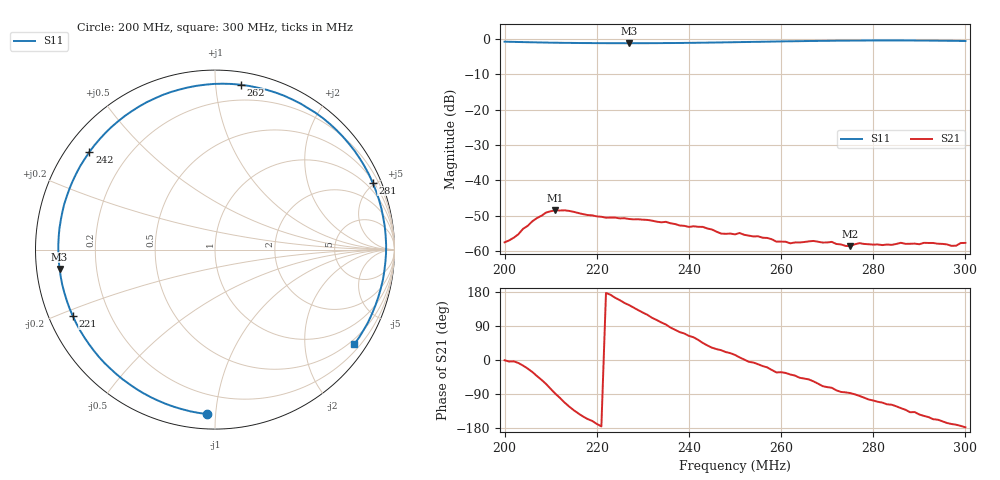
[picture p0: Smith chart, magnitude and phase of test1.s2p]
# HZ S RI R 50
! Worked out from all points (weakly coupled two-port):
!   101 points, 200 MHz to 300 MHz, reference 50 ohm
!   highest |S21| = -48.50 dB at 211 MHz (marker M1); lowest = -58.6 dB at 275 MHz (marker M2)
!   lowest |S11| = -1.2 dB at 227 MHz (marker M3), VSWR 14.71, Z = 3.41 - j3.09 ohm
!   |S11| at or under -10 dB: nowhere
!   S12 and S22 are empty: the file has one direction only
!   S11 on the Smith chart (normalised r, x): 200 MHz: 0.08, -0.95; 221 MHz: 0.07, -0.22; 242 MHz: 0.07, +0.34; 262 MHz: 0.09, +1.16; 281 MHz: 0.58, +4.84; 300 MHz: 0.37, -3.21
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2e8  -0.0424 -0.9168  0.00132 -1.83e-05  0 0  0 0
2.03e8  -0.1837 -0.8892  0.00171 -0.000239  0 0  0 0
2.07e8  -0.359 -0.8217  0.00216 -0.00196  0 0  0 0
2.11e8  -0.5141 -0.7228  8.09e-05 -0.00376  0 0  0 0
2.17e8  -0.7023 -0.5265  -0.00285 -0.00171  0 0  0 0
2.21e8  -0.7927 -0.3693  -0.00304 -0.000255  0 0  0 0
2.27e8  -0.866 -0.108  -0.00232 0.00163  0 0  0 0
2.34e8  -0.8503 0.2097  -0.000405 0.00251  0 0  0 0
2.42e8  -0.6997 0.5441  0.00132 0.00176  0 0  0 0
2.47e8  -0.5385 0.7159  0.00158 0.000767  0 0  0 0
2.5e8  -0.4221 0.7978  0.00167 0.000397  0 0  0 0
2.51e8  -0.3802 0.8212  0.00178 0.000214  0 0  0 0
2.56e8  -0.1534 0.9029  0.00148 -0.000424  0 0  0 0
2.62e8  0.1423 0.9187  0.00101 -0.000794  0 0  0 0
2.67e8  0.384 0.8578  0.00077 -0.00115  0 0  0 0
2.75e8  0.7133 0.6283  5.56e-05 -0.00117  0 0  0 0
2.77e8  0.7783 0.5492  -0.000107 -0.00129  0 0  0 0
2.81e8  0.8781 0.3737  -0.000429 -0.00116  0 0  0 0
2.84e8  0.927 0.2292  -0.000572 -0.00108  0 0  0 0
2.92e8  0.9355 -0.1686  -0.00113 -0.000636  0 0  0 0
2.97e8  0.8533 -0.4042  -0.00116 -0.000227  0 0  0 0
3e8  0.7755 -0.5275  -0.0013 -5.24e-05  0 0  0 0
